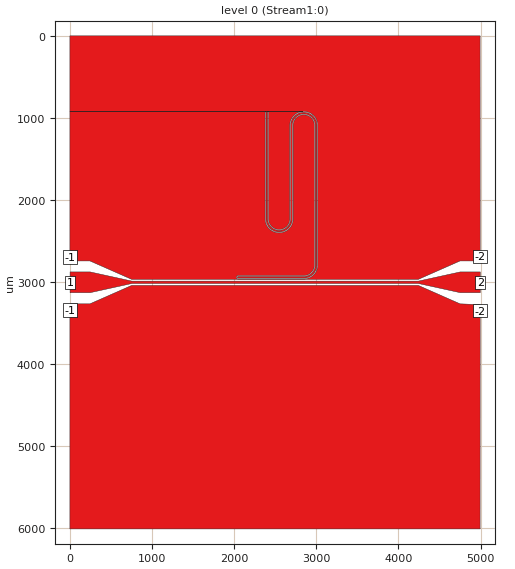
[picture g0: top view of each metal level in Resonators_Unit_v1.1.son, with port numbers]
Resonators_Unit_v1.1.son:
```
FTYP SONPROJ 12 ! Sonnet Project File
VER 14.52
HEADER
LIC Sonn.1.12345
DAT 05/14/2020 08:26:25
BUILT_BY_CREATED gds 14.52 05/14/2020 05:50:22
BUILT_BY_SAVED xgeom 14.52
MDATE 05/14/2020 08:26:25
HDATE 05/14/2020 08:26:25
END HEADER
DIM
FREQ GHZ
IND NH
LNG UM
ANG DEG
CON /OH
CAP PF
RES OH
END DIM
FREQ
SIMPLE 4.0
ABS 4.0 4.0 
END FREQ
CONTROL
ABS
OPTIONS  -dj 
SPEED 2
CACHE_ABS 1
TARG_ABS 300
Q_ACC N
END CONTROL
GEO
TMET "Free Space" 0 FREESPACE 376.7303136 0 0 0
BMET "Free Space" 0 FREESPACE 376.7303136 0 0 0
MET "NbN" 4 SUP 0 3.924e-26 0 6
BOX 1 5000 6000 1000 1200 20 0
      5000 1 1 0 0 0 0 "Air"
      500 11.9 1 0.004 0 0.00044 0 "Silicon (intrinsic)"
TECHLAY METAL Stream1:0 <UNSPECIFIED> 1 0 
0 0 0 N 0 1 1 100 100 0 0 0 Y
END
END
LORGN 0 6000 U 
POR1 STD
POLY 11 1
1
-1 50 0 0 0 -4 3342.5 
POR1 STD
POLY 11 1
7
-2 50 0 0 0 4995.5 3352.5 
POR1 STD
POLY 14 1
0
1 50 0 0 0 -2 3005.5 
POR1 STD
POLY 14 1
6
2 50 0 0 0 4997 3005.5 
POR1 STD
POLY 17 1
359
-2 50 0 0 0 4995.5 2688.5 
POR1 STD
POLY 17 1
2
-1 50 0 0 0 -4 2696 
NUM 3
0 11 -1 N 11 1 1 100 100 0 0 0 Y
TLAYNAM Stream1:0 INH
-4 6011
-4 3417
-4 3268
240 3268
750 3043
4241 3043
4751 3268
4995 3278
4996 3427
4995 6011
-4 6011
END
0 13 -1 N 14 1 1 100 100 0 0 0 Y
TLAYNAM Stream1:0 INH
-2 3132
-2 2879
242 2879
752 2991
4243 2991
4753 2879
4997 2879
4997 3132
4753 3132
4243 3020
752 3020
242 3132
-2 3132
END
0 364 -1 N 17 1 1 100 100 0 0 0 Y
TLAYNAM Stream1:0 INH
750 2970
240 2745
-4 2745
-4 2647
-4 923
2837 923
2820 925
2804 928
2788 933
2772 939
2757 947
2744 956
2731 967
2719 979
2708 992
2699 1005
2691 1020
2685 1036
2680 1052
2677 1068
2675 1085
2675 2238
2674 2251
2671 2263
2668 2276
2663 2287
2657 2298
2650 2309
2642 2319
2633 2328
2623 2336
2612 2343
2601 2349
2590 2354
2577 2357
2565 2360
2552 2361
2540 2361
2527 2360
2515 2357
2502 2354
2491 2349
2480 2343
2469 2336
2459 2328
2450 2319
2442 2309
2435 2298
2429 2287
2424 2276
2421 2263
2418 2251
2417 2238
2417 930
2416 929
2406 929
2406 2239
2407 2253
2410 2266
2414 2279
2419 2292
2426 2304
2433 2315
2442 2326
2452 2336
2463 2345
2474 2352
2486 2359
2499 2364
2512 2368
2525 2371
2539 2372
2553 2372
2567 2371
2580 2368
2593 2364
2606 2359
2618 2352
2629 2345
2640 2336
2650 2326
2659 2315
2666 2304
2673 2292
2678 2279
2682 2266
2685 2253
2686 2239
2686 1086
2688 1070
2691 1055
2695 1040
2701 1026
2709 1012
2717 999
2727 986
2738 975
2751 965
2764 957
2778 949
2792 943
2807 939
2822 936
2838 934
2854 934
2870 936
2885 939
2900 943
2914 949
2928 957
2941 965
2954 975
2965 986
2975 999
2983 1012
2991 1026
2997 1040
3001 1055
3004 1070
3006 1086
3006 2802
3004 2818
3001 2833
2997 2848
2991 2862
2983 2876
2975 2889
2965 2902
2954 2913
2941 2923
2928 2931
2914 2939
2900 2945
2885 2949
2870 2952
2854 2954
2044 2954
2043 2953
2041 2953
2037 2949
2037 2947
2036 2946
2036 2942
2037 2941
2037 2939
2041 2935
2043 2935
2044 2934
2853 2934
2867 2933
2880 2930
2893 2926
2906 2921
2918 2914
2929 2907
2940 2898
2950 2888
2959 2877
2966 2866
2973 2854
2978 2841
2982 2828
2985 2815
2986 2801
2986 1087
2985 1073
2982 1060
2978 1047
2973 1034
2966 1022
2959 1011
2950 1000
2940 990
2929 981
2918 974
2906 967
2893 962
2880 958
2867 955
2853 954
2839 954
2825 955
2812 958
2799 962
2786 967
2774 974
2763 981
2752 990
2742 1000
2733 1011
2726 1022
2719 1034
2714 1047
2710 1060
2707 1073
2706 1087
2706 2240
2704 2256
2701 2271
2697 2286
2691 2300
2683 2314
2675 2327
2665 2340
2654 2351
2641 2361
2628 2369
2614 2377
2600 2383
2585 2387
2570 2390
2554 2392
2538 2392
2522 2390
2507 2387
2492 2383
2478 2377
2464 2369
2451 2361
2438 2351
2427 2340
2417 2327
2409 2314
2401 2300
2395 2286
2391 2271
2388 2256
2386 2240
2386 929
2375 929
2375 2241
2377 2258
2380 2274
2385 2290
2391 2306
2399 2321
2408 2334
2419 2347
2431 2359
2444 2370
2457 2379
2472 2387
2488 2393
2504 2398
2520 2401
2537 2403
2555 2403
2572 2401
2588 2398
2604 2393
2620 2387
2635 2379
2648 2370
2661 2359
2673 2347
2684 2334
2693 2321
2701 2306
2707 2290
2712 2274
2715 2258
2717 2241
2717 1088
2718 1075
2721 1063
2724 1050
2729 1039
2735 1028
2742 1017
2750 1007
2759 998
2769 990
2780 983
2791 977
2802 972
2815 969
2827 966
2840 965
2852 965
2865 966
2877 969
2890 972
2901 977
2912 983
2923 990
2933 998
2942 1007
2950 1017
2957 1028
2963 1039
2968 1050
2971 1063
2974 1075
2975 1088
2975 2799
2974 2812
2971 2825
2968 2837
2963 2849
2957 2860
2950 2871
2923 2898
2912 2905
2901 2911
2889 2916
2877 2919
2864 2922
2851 2923
2043 2923
2041 2924
2039 2924
2033 2927
2029 2931
2026 2937
2026 2939
2025 2941
2025 2947
2026 2949
2026 2951
2029 2957
2033 2961
2039 2964
2041 2964
2043 2965
2855 2965
2872 2963
2888 2960
2904 2955
2920 2949
2935 2941
2948 2932
2961 2921
2973 2909
2984 2896
2993 2883
3001 2868
3007 2852
3012 2836
3015 2820
3017 2803
3017 1085
3015 1068
3012 1052
3007 1036
3001 1020
2993 1005
2984 992
2973 979
2961 967
2948 956
2935 947
2920 939
2904 933
2888 928
2872 925
2855 923
-4 923
-4 2
4995 2
4996 2632
4995 2745
4751 2745
4241 2970
750 2970
END
END GEO
OPT
MAX 100
VARS
END
END OPT
VARSWP
END VARSWP
QSG
IMPORT YES
EXTRA_METAL YES
UNITS YES
ALIGN YES
REF NO
VIEW_RES NO
METALS YES
USED YES
END QSG
```
